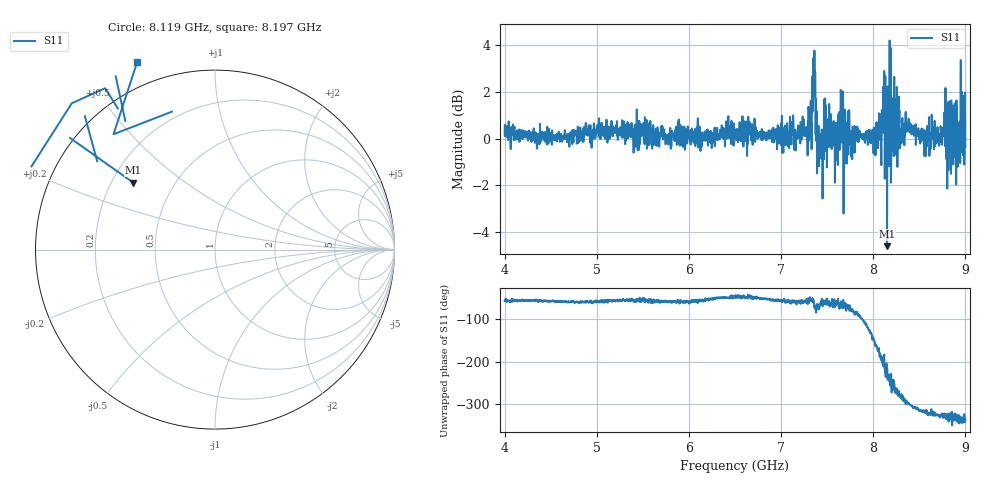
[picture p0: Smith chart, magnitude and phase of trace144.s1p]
! Created with skrf 1.8.0 (http://scikit-rf.org).
# Hz S RI R 50.0
!freq ReS11 ImS11
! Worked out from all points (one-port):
!   1601 points, 4 GHz to 9 GHz, reference 50 ohm
!   lowest |S11| = -4.6 dB at 8.15 GHz (marker M1), VSWR 3.86, Z = 14.5 + j16.5 ohm
!   |S11| at or under -10 dB: nowhere
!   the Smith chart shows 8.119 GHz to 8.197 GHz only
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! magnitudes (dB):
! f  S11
! 4 GHz  0.2
! 4.625 GHz  -0.1
! 5.25 GHz  0.2
! 5.875 GHz  -0.2
! 6.5 GHz  0.2
! 7.125 GHz  0.4
! 7.306 GHz  0.9
! 7.347 GHz  3.4
! 7.362 GHz  3.8
! 7.4 GHz  -0.1
! 7.428 GHz  0.2
! 7.491 GHz  -0.1
! 7.609 GHz  0.4
! 7.65 GHz  1.9
! 7.703 GHz  0.7
! 7.75 GHz  0.2
! 8 GHz  0.4
! 8.122 GHz  2.6
! 8.15 GHz  -4.6
! 8.178 GHz  4.2
! 8.216 GHz  0.8
! 8.312 GHz  0.3
! 8.375 GHz  0.5
! 8.556 GHz  -0.7
! 8.775 GHz  1.0
! 8.9 GHz  -2.0
! 8.972 GHz  0.6
! 9 GHz  -0.3
